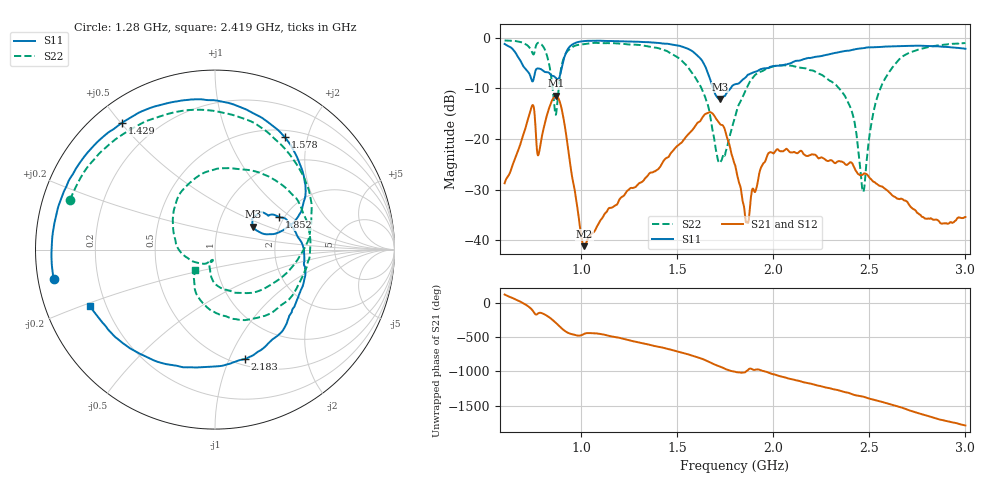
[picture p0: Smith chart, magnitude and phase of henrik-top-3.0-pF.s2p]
#  HZ  S  RI  R  50.00
! Rohde & Schwarz ZVB8 2Ports - Version 2.81 - 1145.1010k08 SN: 100113
! Date: 2016-04-20 03:20:25
! Measurements: S11 S21 S12 S22
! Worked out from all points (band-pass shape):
!   1000 points, 600 MHz to 3 GHz, reference 50 ohm
!   highest |S21| = -11.44 dB at 866.7 MHz (marker M1); lowest = -41.1 dB at 1.016 GHz (marker M2)
!   |S21| within 3 dB of the highest: 734 MHz to 754.5 MHz (20.5 MHz wide, 2.75 % of centre); 827.2 MHz to 899.3 MHz (72.1 MHz wide, 8.35 % of centre)
!   lowest |S11| = -12.1 dB at 1.722 GHz (marker M3), VSWR 1.66, Z = 74 + j20.1 ohm
!   |S11| at or under -10 dB: 1.686 GHz to 1.777 GHz (91.28 MHz wide, 5.27 % of centre)
!   |S22| runs from -30.4 to -0.5 dB; largest |S21 - S12| = 0.0031
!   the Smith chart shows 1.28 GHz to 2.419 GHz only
!   S11 on the Smith chart (normalised r, x): 1.28 GHz: 0.05, -0.09; 1.429 GHz: 0.08, +0.50; 1.578 GHz: 0.60, +1.64; 1.852 GHz: 1.88, +0.81; 2.183 GHz: 0.56, -1.15; 2.419 GHz: 0.14, -0.21
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6e8  0.7711 0.3971  -0.017 0.0325  -0.017 0.0325  0.55 0.762
6.648649e8  0.232 -0.6257  0.0583 0.0429  0.0582 0.0431  0.8645 0.3219
7.081081e8  -0.4872 -0.0849  0.1142 -0.0565  0.1143 -0.0565  0.8637 -0.0496
8.09009e8  0.2475 0.3881  -0.14 -0.0172  -0.1402 -0.0171  0.2595 -0.7237
8.666667e8  0.3325 0.2244  0.1086 0.2448  0.1088 0.2448  -0.1414 0.101
9.195195e8  0.6262 0.3327  0.0508 -0.1019  0.0507 -0.102  0.6994 -0.0743
1.001201e9  0.7721 -0.5017  -0.00421 -0.00956  -0.00422 -0.00953  0.3497 -0.783
1.015616e9  0.6936 -0.6147  -0.000646 -0.00876  -0.000675 -0.00876  0.2484 -0.8301
1.27988e9  -0.899 -0.1657  -0.0293 0.0162  -0.0293 0.0163  -0.8077 0.2768
1.4e9  -0.6662 0.5886  0.0114 0.0493  0.0114 0.0493  -0.131 0.7785
1.428829e9  -0.5193 0.7064  0.0307 0.0532  0.0308 0.0532  0.093 0.7518
1.577778e9  0.3894 0.6254  0.0757 -0.0967  0.0758 -0.0965  0.4385 -0.086
1.721922e9  0.214 0.1274  -0.1195 0.0742  -0.1194 0.0743  -0.0123 -0.0569
1.801201e9  0.2869 0.197  0.0178 0.052  0.0178 0.0519  -0.1626 -0.0406
1.851652e9  0.3569 0.1814  0.0081 0.0161  0.00811 0.016  -0.2347 0.1744
2.183183e9  0.1674 -0.6098  -0.00497 -0.0684  -0.00491 -0.0683  0.377 -0.3039
2.2e9  0.108 -0.6261  -0.0192 -0.0682  -0.0192 -0.0682  0.3379 -0.3353
2.418619e9  -0.6972 -0.314  -0.00564 0.0534  -0.00574 0.0533  -0.1122 -0.1145
2.469069e9  -0.7852 -0.0761  0.0166 0.0423  0.0167 0.0423  0.00917 -0.0289
2.601201e9  -0.6082 0.5486  0.0243 -0.0177  0.0242 -0.0177  0.2278 -0.3911
2.745345e9  0.0278 0.8332  -0.0184 -0.00511  -0.0185 -0.00511  -0.4671 -0.5921
3e9  0.7786 -0.000904  0.0168 0.00281  0.0168 0.00283  -0.5806 0.669
